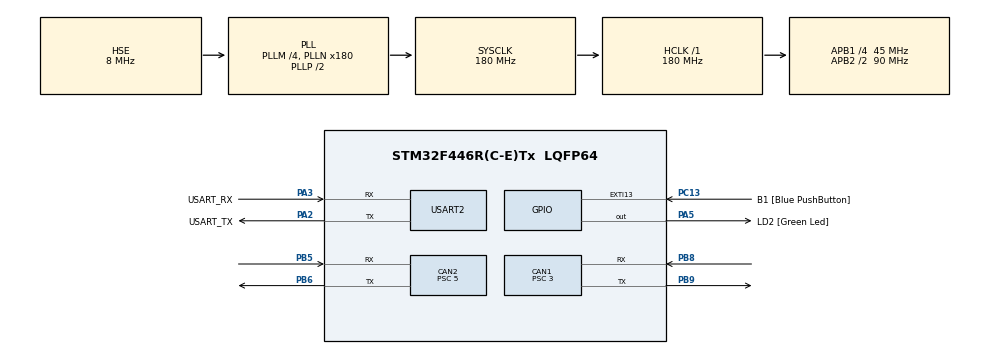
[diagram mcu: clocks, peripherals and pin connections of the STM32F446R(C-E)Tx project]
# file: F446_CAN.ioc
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CAN1.BS1=CAN_BS1_10TQ
CAN1.BS2=CAN_BS2_6TQ
CAN1.CalculateTimeQuantum=66.66666666666666
CAN1.Mode=CAN_MODE_NORMAL
CAN1.NART=DISABLE
CAN1.Prescaler=3
CAN1.RFLM=DISABLE
CAN2.BS1=CAN_BS1_13TQ
CAN2.BS2=CAN_BS2_5TQ
CAN2.CalculateTimeQuantum=111.11111111111111
CAN2.Mode=CAN_MODE_NORMAL
CAN2.NART=ENABLE
CAN2.Prescaler=5
Mcu.Family=STM32F4
Mcu.Name=STM32F446R(C-E)Tx
Mcu.Package=LQFP64
NVIC.CAN1_RX0_IRQn=true\:2\:0\:true\:false\:true\:true\:true
NVIC.CAN1_RX1_IRQn=true\:3\:0\:true\:false\:true\:true\:true
NVIC.CAN1_TX_IRQn=true\:1\:0\:true\:false\:true\:true\:true
NVIC.CAN2_RX0_IRQn=true\:5\:0\:true\:false\:true\:true\:true
NVIC.CAN2_RX1_IRQn=true\:6\:0\:true\:false\:true\:true\:true
NVIC.CAN2_TX_IRQn=true\:4\:0\:true\:false\:true\:true\:true
NVIC.PriorityGroup=NVIC_PRIORITYGROUP_4
PA13.GPIO_Label=TMS
PA13.Mode=Serial_Wire
PA13.Signal=SYS_JTMS-SWDIO
PA14.GPIO_Label=TCK
PA14.Mode=Serial_Wire
PA14.Signal=SYS_JTCK-SWCLK
PA2.GPIO_Label=USART_TX
PA2.Mode=Asynchronous
PA2.Signal=USART2_TX
PA3.GPIO_Label=USART_RX
PA3.Mode=Asynchronous
PA3.Signal=USART2_RX
PA5.GPIO_Label=LD2 [Green Led]
PA5.Signal=GPIO_Output
PB3.GPIO_Label=SWO
PB3.Signal=SYS_JTDO-SWO
PB5.Mode=Slave
PB5.Signal=CAN2_RX
PB6.Mode=Slave
PB6.Signal=CAN2_TX
PB8.Mode=Master
PB8.Signal=CAN1_RX
PB9.Mode=Master
PB9.Signal=CAN1_TX
PC13.GPIO_Label=B1 [Blue PushButton]
PC13.GPIO_ModeDefaultEXTI=GPIO_MODE_IT_FALLING
PC13.Signal=GPXTI13
PC14-OSC32_IN.Mode=LSE-External-Oscillator
PC14-OSC32_IN.Signal=RCC_OSC32_IN
PC15-OSC32_OUT.Mode=LSE-External-Oscillator
PC15-OSC32_OUT.Signal=RCC_OSC32_OUT
PH0-OSC_IN.Mode=HSE-External-Oscillator
PH0-OSC_IN.Signal=RCC_OSC_IN
PH1-OSC_OUT.Mode=HSE-External-Oscillator
PH1-OSC_OUT.Signal=RCC_OSC_OUT
ProjectManager.HeapSize=0x200
ProjectManager.StackSize=0x400
ProjectManager.TargetToolchain=STM32CubeIDE
RCC.48MHZClocksFreq_Value=84000000
RCC.AHBFreq_Value=180000000
RCC.APB1CLKDivider=RCC_HCLK_DIV4
RCC.APB1Freq_Value=45000000
RCC.APB1TimFreq_Value=90000000
RCC.APB2CLKDivider=RCC_HCLK_DIV2
RCC.APB2Freq_Value=90000000
RCC.APB2TimFreq_Value=180000000
RCC.CortexFreq_Value=180000000
RCC.FLatency-AdvancedSettings=FLASH_LATENCY_5
RCC.HCLKFreq_Value=180000000
RCC.HSE_VALUE=8000000
RCC.HSI_VALUE=16000000
RCC.PLLM=4
RCC.PLLN=180
RCC.PLLSourceVirtual=RCC_PLLSOURCE_HSE
RCC.SYSCLKFreq_VALUE=180000000
RCC.SYSCLKSource=RCC_SYSCLKSOURCE_PLLCLK
RCC.USBFreq_Value=180000000
RCC.VCOOutputFreq_Value=360000000
USART2.VirtualMode=VM_ASYNC
board=NUCLEO-F446RE

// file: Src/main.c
/* USER CODE BEGIN Header */
/**
  ******************************************************************************
  * @file           : main.c
  * @brief          : Main program body
  ******************************************************************************
  * @attention
  *
  * <h2><center>&copy; Copyright (c) 2019 STMicroelectronics.
  * All rights reserved.</center></h2>
  *
  * This software component is licensed by ST under BSD 3-Clause license,
  * the "License"; You may not use this file except in compliance with the
  * License. You may obtain a copy of the License at:
  *                        opensource.org/licenses/BSD-3-Clause
  *
  ******************************************************************************
  */
/* USER CODE END Header */

#include "main.h"

/* USER CODE BEGIN Includes */
#include "xprintf.h"
/* USER CODE END Includes */

CAN_HandleTypeDef hcan1;
CAN_HandleTypeDef hcan2;

UART_HandleTypeDef huart2;

void SystemClock_Config(void);
static void MX_GPIO_Init(void);
static void MX_USART2_UART_Init(void);
static void MX_CAN1_Init(void);
static void MX_CAN2_Init(void);

/* USER CODE BEGIN 0 */
CAN_TxHeaderTypeDef   TxHeader;
CAN_RxHeaderTypeDef   RxHeader;

uint8_t               TxData[8];
uint8_t               RxData[8];
uint32_t              TxMailbox;
uint8_t cnt;

void HAL_CAN_RxFifo0MsgPendingCallback(CAN_HandleTypeDef *hcan)
{
  /* Get RX message */
  if (HAL_CAN_GetRxMessage(&hcan1, CAN_RX_FIFO0, &RxHeader, RxData) != HAL_OK)
  {
    /* Reception Error */
    Error_Handler();
  }
  xprintf(" id=%x [0]=%d [1]=%d [2]=%d\r\n",RxHeader.StdId,RxData[0],RxData[1],RxData[2]);
}
/* USER CODE END 0 */

int main(void)
{

  /* MCU Configuration--------------------------------------------------------*/

  /* Reset of all peripherals, Initializes the Flash interface and the Systick. */
  HAL_Init();

  /* Configure the system clock */
  SystemClock_Config();

  /* Initialize all configured peripherals */
  MX_GPIO_Init();
  MX_USART2_UART_Init();
  MX_CAN1_Init();
  MX_CAN2_Init();
  /* USER CODE BEGIN 2 */
  init_xprintf(&huart2);
  HAL_CAN_Start(&hcan1);
  HAL_CAN_Start(&hcan2);

  /* USER CODE END 2 */

  /* Infinite loop */
  while (1)
  {

    /* USER CODE BEGIN 3 */
	  HAL_GPIO_TogglePin(GPIOA, GPIO_PIN_5);
	  HAL_Delay(100);

	  TxHeader.StdId = 0x456;
	  TxHeader.RTR = CAN_RTR_DATA;
	  TxHeader.IDE = CAN_ID_STD;
	  TxHeader.DLC = 3;
	  TxHeader.TransmitGlobalTime = DISABLE;
	  TxData[0] = 100;
	  TxData[1] = 200;
	  TxData[2] = cnt;

	  /* Request transmission */
	  if(HAL_CAN_AddTxMessage(&hcan1, &TxHeader, TxData, &TxMailbox) != HAL_OK)
	  {
	    Error_Handler();
	  }
	  while(HAL_CAN_GetTxMailboxesFreeLevel(&hcan1) != 3) {}
	  if (HAL_CAN_ActivateNotification(&hcan1, CAN_IT_RX_FIFO0_MSG_PENDING) != HAL_OK)
	    {
	  	  Error_Handler();
	    }

	   if(cnt>250){
		   cnt=0;
	   }
	   else{
		   cnt++;
	   }
  }
  /* USER CODE END 3 */
}

void SystemClock_Config(void)
{
  RCC_OscInitTypeDef RCC_OscInitStruct = {0};
  RCC_ClkInitTypeDef RCC_ClkInitStruct = {0};

  /** Configure the main internal regulator output voltage
  */
  __HAL_RCC_PWR_CLK_ENABLE();
  __HAL_PWR_VOLTAGESCALING_CONFIG(PWR_REGULATOR_VOLTAGE_SCALE1);
  /** Initializes the CPU, AHB and APB busses clocks
  */
  RCC_OscInitStruct.OscillatorType = RCC_OSCILLATORTYPE_HSE;
  RCC_OscInitStruct.HSEState = RCC_HSE_ON;
  RCC_OscInitStruct.PLL.PLLState = RCC_PLL_ON;
  RCC_OscInitStruct.PLL.PLLSource = RCC_PLLSOURCE_HSE;
  RCC_OscInitStruct.PLL.PLLM = 4;
  RCC_OscInitStruct.PLL.PLLN = 180;
  RCC_OscInitStruct.PLL.PLLP = RCC_PLLP_DIV2;
  RCC_OscInitStruct.PLL.PLLQ = 2;
  RCC_OscInitStruct.PLL.PLLR = 2;
  if (HAL_RCC_OscConfig(&RCC_OscInitStruct) != HAL_OK)
  {
    Error_Handler();
  }
  /** Activate the Over-Drive mode
  */
  if (HAL_PWREx_EnableOverDrive() != HAL_OK)
  {
    Error_Handler();
  }
  /** Initializes the CPU, AHB and APB busses clocks
  */
  RCC_ClkInitStruct.ClockType = RCC_CLOCKTYPE_HCLK|RCC_CLOCKTYPE_SYSCLK
                              |RCC_CLOCKTYPE_PCLK1|RCC_CLOCKTYPE_PCLK2;
  RCC_ClkInitStruct.SYSCLKSource = RCC_SYSCLKSOURCE_PLLCLK;
  RCC_ClkInitStruct.AHBCLKDivider = RCC_SYSCLK_DIV1;
  RCC_ClkInitStruct.APB1CLKDivider = RCC_HCLK_DIV4;
  RCC_ClkInitStruct.APB2CLKDivider = RCC_HCLK_DIV2;

  if (HAL_RCC_ClockConfig(&RCC_ClkInitStruct, FLASH_LATENCY_5) != HAL_OK)
  {
    Error_Handler();
  }
}

static void MX_CAN1_Init(void)
{

  hcan1.Instance = CAN1;
  hcan1.Init.Prescaler = 3;
  hcan1.Init.Mode = CAN_MODE_NORMAL;
  hcan1.Init.SyncJumpWidth = CAN_SJW_1TQ;
  hcan1.Init.TimeSeg1 = CAN_BS1_8TQ;
  hcan1.Init.TimeSeg2 = CAN_BS2_6TQ;
  hcan1.Init.TimeTriggeredMode = DISABLE;
  hcan1.Init.AutoBusOff = DISABLE;
  hcan1.Init.AutoWakeUp = DISABLE;
  hcan1.Init.AutoRetransmission = DISABLE;
  hcan1.Init.ReceiveFifoLocked = DISABLE;
  hcan1.Init.TransmitFifoPriority = DISABLE;
  if (HAL_CAN_Init(&hcan1) != HAL_OK)
  {
    Error_Handler();
  }
  /* USER CODE BEGIN CAN1_Init 2 */

  CAN_FilterTypeDef  sFilterConfig;
  sFilterConfig.FilterBank = 0;
  sFilterConfig.FilterMode = CAN_FILTERMODE_IDLIST;
  sFilterConfig.FilterScale = CAN_FILTERSCALE_16BIT;
  sFilterConfig.FilterIdHigh = 0x123<<5;
  sFilterConfig.FilterIdLow = 0x123<<5;
  sFilterConfig.FilterMaskIdHigh = 0x123<<5;
  sFilterConfig.FilterMaskIdLow = 0x123<<5;
  sFilterConfig.FilterFIFOAssignment = CAN_RX_FIFO0;
  sFilterConfig.FilterActivation = ENABLE;
  sFilterConfig.SlaveStartFilterBank = 14;

  if (HAL_CAN_ConfigFilter(&hcan1, &sFilterConfig) != HAL_OK)
  {
	  Error_Handler();
  }
  /* USER CODE END CAN1_Init 2 */

}

static void MX_CAN2_Init(void)
{

  hcan2.Instance = CAN2;
  hcan2.Init.Prescaler = 5;
  hcan2.Init.Mode = CAN_MODE_NORMAL;
  hcan2.Init.SyncJumpWidth = CAN_SJW_1TQ;
  hcan2.Init.TimeSeg1 = CAN_BS1_13TQ;
  hcan2.Init.TimeSeg2 = CAN_BS2_5TQ;
  hcan2.Init.TimeTriggeredMode = DISABLE;
  hcan2.Init.AutoBusOff = DISABLE;
  hcan2.Init.AutoWakeUp = DISABLE;
  hcan2.Init.AutoRetransmission = ENABLE;
  hcan2.Init.ReceiveFifoLocked = DISABLE;
  hcan2.Init.TransmitFifoPriority = DISABLE;
  if (HAL_CAN_Init(&hcan2) != HAL_OK)
  {
    Error_Handler();
  }
  /* USER CODE BEGIN CAN2_Init 2 */

  CAN_FilterTypeDef  sFilterConfig;
  sFilterConfig.FilterBank = 0;
  sFilterConfig.FilterMode = CAN_FILTERMODE_IDMASK;
  sFilterConfig.FilterScale = CAN_FILTERSCALE_32BIT;
  sFilterConfig.FilterIdHigh = 0x0000;
  sFilterConfig.FilterIdLow = 0x0000;
  sFilterConfig.FilterMaskIdHigh = 0x0000;
  sFilterConfig.FilterMaskIdLow = 0x0000;
  sFilterConfig.FilterFIFOAssignment = CAN_RX_FIFO0;
  sFilterConfig.FilterActivation = ENABLE;
  sFilterConfig.SlaveStartFilterBank = 14;

  if (HAL_CAN_ConfigFilter(&hcan2, &sFilterConfig) != HAL_OK)
  {
	  Error_Handler();
  }
  /* USER CODE END CAN2_Init 2 */

}

static void MX_USART2_UART_Init(void)
{

  huart2.Instance = USART2;
  huart2.Init.BaudRate = 115200;
  huart2.Init.WordLength = UART_WORDLENGTH_8B;
  huart2.Init.StopBits = UART_STOPBITS_1;
  huart2.Init.Parity = UART_PARITY_NONE;
  huart2.Init.Mode = UART_MODE_TX_RX;
  huart2.Init.HwFlowCtl = UART_HWCONTROL_NONE;
  huart2.Init.OverSampling = UART_OVERSAMPLING_16;
  if (HAL_UART_Init(&huart2) != HAL_OK)
  {
    Error_Handler();
  }

}

static void MX_GPIO_Init(void)
{
  GPIO_InitTypeDef GPIO_InitStruct = {0};

  /* GPIO Ports Clock Enable */
  __HAL_RCC_GPIOC_CLK_ENABLE();
  __HAL_RCC_GPIOH_CLK_ENABLE();
  __HAL_RCC_GPIOA_CLK_ENABLE();
  __HAL_RCC_GPIOB_CLK_ENABLE();

  /*Configure GPIO pin Output Level */
  HAL_GPIO_WritePin(LD2_GPIO_Port, LD2_Pin, GPIO_PIN_RESET);

  /*Configure GPIO pin : B1_Pin */
  GPIO_InitStruct.Pin = B1_Pin;
  GPIO_InitStruct.Mode = GPIO_MODE_IT_FALLING;
  GPIO_InitStruct.Pull = GPIO_NOPULL;
  HAL_GPIO_Init(B1_GPIO_Port, &GPIO_InitStruct);

  /*Configure GPIO pin : LD2_Pin */
  GPIO_InitStruct.Pin = LD2_Pin;
  GPIO_InitStruct.Mode = GPIO_MODE_OUTPUT_PP;
  GPIO_InitStruct.Pull = GPIO_NOPULL;
  GPIO_InitStruct.Speed = GPIO_SPEED_FREQ_LOW;
  HAL_GPIO_Init(LD2_GPIO_Port, &GPIO_InitStruct);

}

void Error_Handler(void)
{
}

/************************ (C) COPYRIGHT STMicroelectronics *****END OF FILE****/
